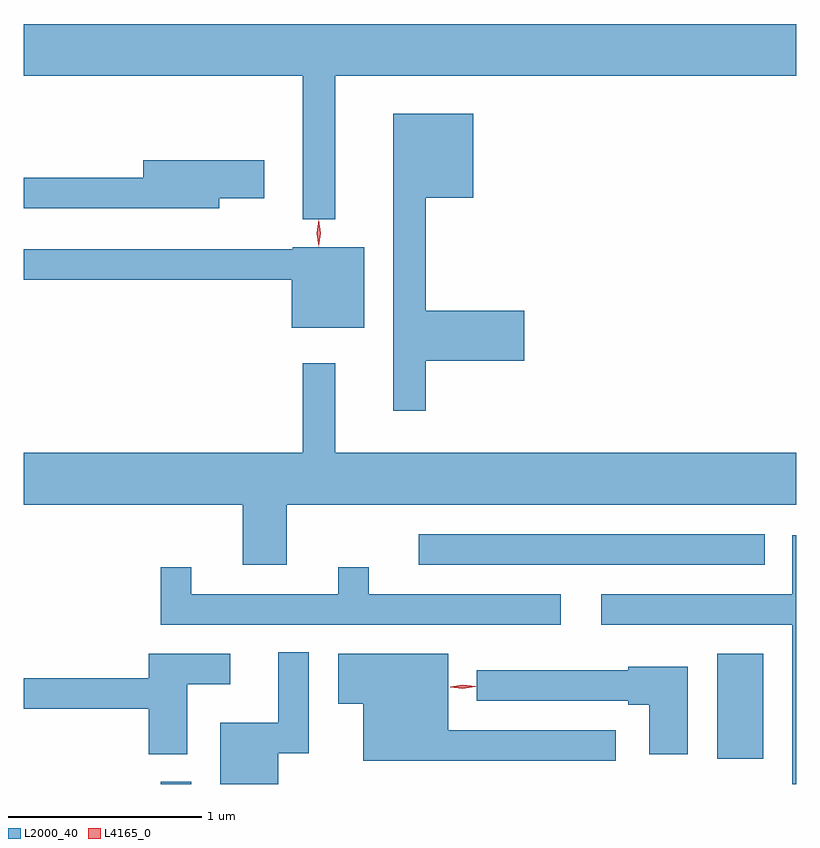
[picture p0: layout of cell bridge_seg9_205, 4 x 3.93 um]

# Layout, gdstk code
import gdstk
lib = gdstk.Library(unit=1e-6, precision=1e-09)
def R(c, l, rs):  # rectangles x0, y0, x1, y1
    for r in rs: c.add(gdstk.rectangle(r[:2], r[2:], *l))
def P(c, l, *ps):  # polygons
    for p in ps: c.add(gdstk.Polygon(p, *l))
L2000_40 = (2000, 40)
L4165_0 = (4165, 0)

bridge_seg9_205 = lib.new_cell('bridge_seg9_205')
R(bridge_seg9_205, L2000_40, [(1282.806,1950.411,1282.964,1950.423), (1285.686,1950.541,1285.924,1951.084), (1284.143,1951.546,1285.933,1951.704)])
P(bridge_seg9_205, L2000_40, [(1283.709,1954.076),(1286.097,1954.076),(1286.097,1954.344),(1282.097,1954.344),(1282.097,1954.076),(1283.541,1954.076),(1283.541,1953.333),(1283.709,1953.333)],
  [(1284.179,1952.601),(1284.689,1952.601),(1284.689,1952.859),(1284.179,1952.859),(1284.179,1953.446),(1284.424,1953.446),(1284.424,1953.879),(1284.011,1953.879),(1284.011,1952.343),(1284.179,1952.343)],
  [(1283.109,1953.441),(1283.344,1953.441),(1283.344,1953.639),(1282.716,1953.639),(1282.716,1953.549),(1282.097,1953.549),(1282.097,1953.391),(1283.109,1953.391)],
  [(1283.859,1953.189),(1283.49,1953.189),(1283.49,1953.179),(1282.097,1953.179),(1282.097,1953.021),(1283.486,1953.021),(1283.486,1952.771),(1283.859,1952.771)],
  [(1283.459,1951.856),(1286.097,1951.856),(1286.097,1952.124),(1283.709,1952.124),(1283.709,1952.588),(1283.541,1952.588),(1283.541,1952.124),(1282.097,1952.124),(1282.097,1951.856),(1283.231,1951.856),(1283.231,1951.546),(1283.459,1951.546)],
  [(1286.097,1951.699),(1286.076,1951.699),(1286.076,1951.394),(1285.088,1951.394),(1285.088,1951.236),(1286.076,1951.236),(1286.076,1950.411),(1286.097,1950.411)],
  [(1284.878,1951.394),(1283.884,1951.394),(1283.884,1951.533),(1283.726,1951.533),(1283.726,1951.394),(1282.964,1951.394),(1282.964,1951.533),(1282.806,1951.533),(1282.806,1951.236),(1284.878,1951.236)],
  [(1283.414,1950.571),(1283.574,1950.571),(1283.574,1951.093),(1283.416,1951.093),(1283.416,1950.729),(1283.116,1950.729),(1283.116,1950.411),(1283.414,1950.411)],
  [(1282.944,1950.926),(1283.168,1950.926),(1283.168,1951.084),(1282.746,1951.084),(1282.746,1950.959),(1282.097,1950.959),(1282.097,1950.801),(1282.746,1950.801),(1282.746,1950.566),(1282.944,1950.566)],
  [(1285.163,1950.689),(1284.294,1950.689),(1284.294,1951.084),(1283.726,1951.084),(1283.726,1950.826),(1283.856,1950.826),(1283.856,1950.531),(1285.163,1950.531)],
  [(1285.534,1951.019),(1285.226,1951.019),(1285.226,1950.999),(1284.443,1950.999),(1284.443,1950.841),(1285.226,1950.841),(1285.226,1950.821),(1285.336,1950.821),(1285.336,1950.566),(1285.534,1950.566)])
P(bridge_seg9_205, L4165_0, [(1284.371,1950.904),(1284.306,1950.912),(1284.305,1950.913),(1284.306,1950.914),(1284.371,1950.924),(1284.437,1950.916),(1284.437,1950.915),(1284.437,1950.915)],
  [(1283.625,1953.193),(1283.624,1953.194),(1283.615,1953.262),(1283.624,1953.33),(1283.625,1953.33),(1283.625,1953.33),(1283.635,1953.262),(1283.625,1953.194)])

lib.write_gds('bridge_seg9_205.gds')
